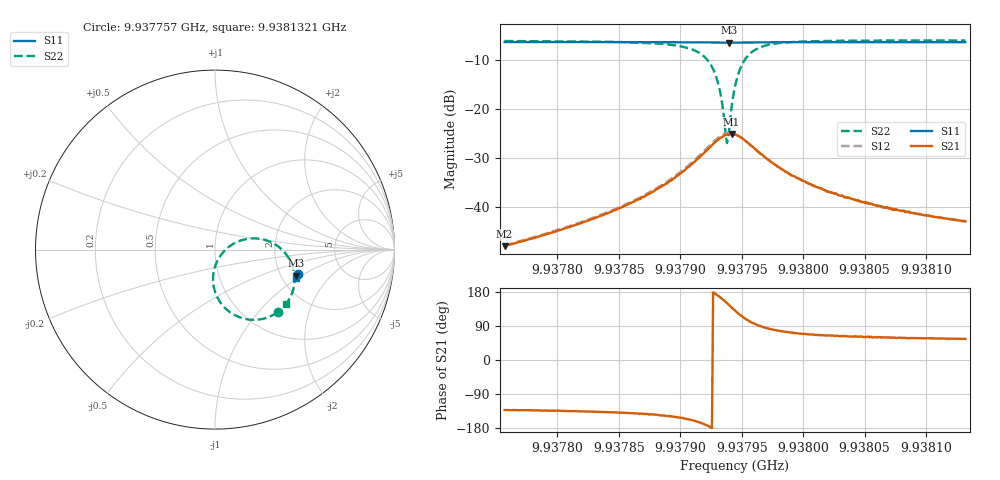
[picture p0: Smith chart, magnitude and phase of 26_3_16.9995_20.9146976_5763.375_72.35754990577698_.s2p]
#  HZ  S  RI  R  50.00
! Rohde & Schwarz Vector Network Analyzer
! Rohde-Schwarz,ZNB20-2Port,1311601062101988,3.16
! Created: UTC 3/20/2024, 10:53:12 PM
! freq[Hz]  re:S11  im:S11  re:S21  im:S21  re:S12  im:S12  re:S22  im:S22
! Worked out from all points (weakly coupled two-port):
!   401 points, 9.937757 GHz to 9.9381321 GHz, reference 50 ohm
!   highest |S21| = -25.09 dB at 9.9379417 GHz (marker M1); lowest = -48.0 dB at 9.937757 GHz (marker M2)
!   lowest |S11| = -6.5 dB at 9.9379398 GHz (marker M3), VSWR 2.80, Z = 120 - j44.9 ohm
!   |S11| at or under -10 dB: nowhere
!   |S22| runs from -27.0 to -6.0 dB; largest |S21 - S12| = 0.0046
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9.93775695e9  0.4619 -0.1357  -0.00266 -0.00296  -0.00272 -0.00299  0.3483 -0.349
9.93781979e9  0.4601 -0.1402  -0.00488 -0.00485  -0.0051 -0.00487  0.3245 -0.3641
9.93785355e9  0.4589 -0.1427  -0.00762 -0.00662  -0.00793 -0.00662  0.2981 -0.3762
9.93788262e9  0.4574 -0.145  -0.013 -0.00883  -0.0135 -0.00895  0.2511 -0.3887
9.93790794e9  0.4557 -0.1471  -0.0243 -0.0101  -0.0256 -0.00979  0.1521 -0.3821
9.93792201e9  0.4536 -0.1477  -0.038 -0.00462  -0.0402 -0.00317  0.0444 -0.3131
9.9379267e9  0.4526 -0.1475  -0.0437 0.00123  -0.0459 0.00347  0.00765 -0.2545
9.93793045e9  0.452 -0.147  -0.0474 0.00812  -0.0493 0.0112  -0.00979 -0.1888
9.93793326e9  0.4516 -0.1462  -0.0491 0.0146  -0.0501 0.0184  -0.00836 -0.1302
9.93793702e9  0.4513 -0.1454  -0.0483 0.0248  -0.0481 0.0291  0.0203 -0.0491
9.93793795e9  0.4513 -0.1451  -0.0474 0.0272  -0.0469 0.0317  0.0328 -0.0306
9.93793889e9  0.4514 -0.145  -0.0466 0.0297  -0.0455 0.0341  0.0469 -0.0128
9.93793983e9  0.4514 -0.1447  -0.0451 0.0323  -0.0437 0.0363  0.063 0.00319
9.9379417e9  0.4517 -0.1442  -0.0419 0.0366  -0.0398 0.0404  0.0995 0.0307
9.93794452e9  0.4522 -0.1435  -0.0353 0.0417  -0.0327 0.0448  0.1602 0.0557
9.93794733e9  0.4529 -0.1432  -0.0283 0.0447  -0.0251 0.0467  0.221 0.0627
9.93795108e9  0.4539 -0.143  -0.0192 0.0455  -0.0163 0.0465  0.292 0.0497
9.9379614e9  0.4558 -0.1443  -0.0027 0.0385  -0.000909 0.0383  0.4027 -0.0351
9.93798109e9  0.4566 -0.1471  0.00578 0.0245  0.00657 0.024  0.4431 -0.1576
9.93800735e9  0.4563 -0.1498  0.00636 0.0154  0.00677 0.0152  0.4344 -0.2284
9.93807019e9  0.4546 -0.1547  0.00481 0.00835  0.00517 0.00825  0.4091 -0.2845
9.93813208e9  0.453 -0.1589  0.00402 0.00587  0.00415 0.00587  0.3954 -0.3051
